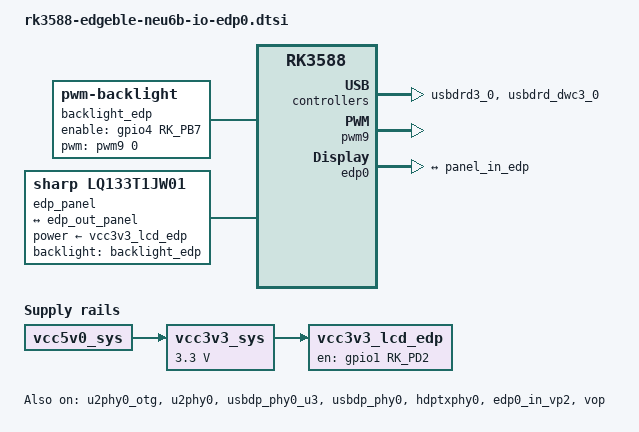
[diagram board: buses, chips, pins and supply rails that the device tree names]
// SPDX-License-Identifier: (GPL-2.0+ OR MIT)
/*
 * Copyright (c) 2023 Edgeble AI Technologies Pvt. Ltd.
 */

&usbdrd3_0 {
	status = "okay";
};

/* OTG, set dr_mode = "host"; for host */
&usbdrd_dwc3_0 {
	status = "okay";
};

&u2phy0_otg {
	status = "okay";
};

&u2phy0 {
	status = "okay";
};

&usbdp_phy0_u3 {
	status = "okay";
};

&usbdp_phy0 {
	status = "okay";
};

/* eDP0 */
/ {
	backlight_edp: backlight-edp {
		compatible = "pwm-backlight";
		pwms = <&pwm9 0 25000 0>;
		brightness-levels = <
			  0  20  20  21  21  22  22  23
			 23  24  24  25  25  26  26  27
			 27  28  28  29  29  30  30  31
			 31  32  32  33  33  34  34  35
			 35  36  36  37  37  38  38  39
			 40  41  42  43  44  45  46  47
			 48  49  50  51  52  53  54  55
			 56  57  58  59  60  61  62  63
			 64  65  66  67  68  69  70  71
			 72  73  74  75  76  77  78  79
			 80  81  82  83  84  85  86  87
			 88  89  90  91  92  93  94  95
			 96  97  98  99 100 101 102 103
			104 105 106 107 108 109 110 111
			112 113 114 115 116 117 118 119
			120 121 122 123 124 125 126 127
			128 129 130 131 132 133 134 135
			136 137 138 139 140 141 142 143
			144 145 146 147 148 149 150 151
			152 153 154 155 156 157 158 159
			160 161 162 163 164 165 166 167
			168 169 170 171 172 173 174 175
			176 177 178 179 180 181 182 183
			184 185 186 187 188 189 190 191
			192 193 194 195 196 197 198 199
			200 201 202 203 204 205 206 207
			208 209 210 211 212 213 214 215
			216 217 218 219 220 221 222 223
			224 225 226 227 228 229 230 231
			232 233 234 235 236 237 238 239
			240 241 242 243 244 245 246 247
			248 249 250 251 252 253 254 255
		>;
		default-brightness-level = <200>;
		enable-gpios = <&gpio4 RK_PB7 GPIO_ACTIVE_HIGH>; /* EDP_BL_EN */
	};

	vcc3v3_sys: vcc3v3-sys {
		compatible = "regulator-fixed";
		regulator-name = "vcc3v3_sys";
		regulator-always-on;
		regulator-boot-on;
		regulator-min-microvolt = <3300000>;
		regulator-max-microvolt = <3300000>;
		vin-supply = <&vcc5v0_sys>;
	};

	vcc3v3_lcd_edp: vcc3v3-lcd-edp {
		compatible = "regulator-fixed";
		gpio = <&gpio1 RK_PD2 GPIO_ACTIVE_HIGH>;
		enable-active-high;
		regulator-name = "vcc3v3_lcd_edp";
		regulator-boot-on;
		vin-supply = <&vcc3v3_sys>;
		regulator-state-mem {
			regulator-off-in-suspend;
		};
	};

	edp_panel: edp-panel {
		compatible = "sharp,lq133t1jw01";
		backlight = <&backlight_edp>;
		power-supply = <&vcc3v3_lcd_edp>;

		port {
			panel_in_edp: endpoint {
					remote-endpoint = <&edp_out_panel>;
			};
		};
	};
};

&pwm9 {
	status = "okay";
};

&edp0 {
	force-hpd;
	status = "okay";

	ports {
		edp_out: port@1 {
			reg = <1>;
			#address-cells = <1>;
			#size-cells = <0>;

			edp_out_panel: endpoint@0 {
				reg = <0>;
				remote-endpoint = <&panel_in_edp>;
			};
		};
	};
};

&hdptxphy0 {
	status = "okay";
};

&display_subsystem {
	route {
		route_edp0: route-edp0 {
			status = "okay";
			connect = <&vp2_out_edp0>;
		};
	};
};

&edp0_in_vp0 {
	status = "disabled";
};

&edp0_in_vp1 {
	status = "disabled";
};

&edp0_in_vp2 {
	status = "okay";
};

&vop {
	status = "okay";
};

&vop_mmu {
	status = "okay";
};

/* vp0 & vp1 splice for 8K output */
&vp0 {
	rockchip,plane-mask = <(1 << ROCKCHIP_VOP2_CLUSTER0 | 1 << ROCKCHIP_VOP2_ESMART0)>;
	rockchip,primary-plane = <ROCKCHIP_VOP2_CLUSTER0>;
	cursor-win-id = <ROCKCHIP_VOP2_ESMART0>;
};

&vp1 {
	rockchip,plane-mask = <(1 << ROCKCHIP_VOP2_CLUSTER1 | 1 << ROCKCHIP_VOP2_ESMART1)>;
	rockchip,primary-plane = <ROCKCHIP_VOP2_CLUSTER1>;
	cursor-win-id = <ROCKCHIP_VOP2_ESMART1>;
};

&vp2 {
	rockchip,plane-mask = <(1 << ROCKCHIP_VOP2_CLUSTER2 | 1 << ROCKCHIP_VOP2_ESMART2)>;
	rockchip,primary-plane = <ROCKCHIP_VOP2_CLUSTER2>;
	cursor-win-id = <ROCKCHIP_VOP2_ESMART2>;
};

&vp3 {
	rockchip,plane-mask = <(1 << ROCKCHIP_VOP2_CLUSTER3 | 1 << ROCKCHIP_VOP2_ESMART3)>;
	rockchip,primary-plane = <ROCKCHIP_VOP2_CLUSTER3>;
	cursor-win-id = <ROCKCHIP_VOP2_ESMART3>;
};
